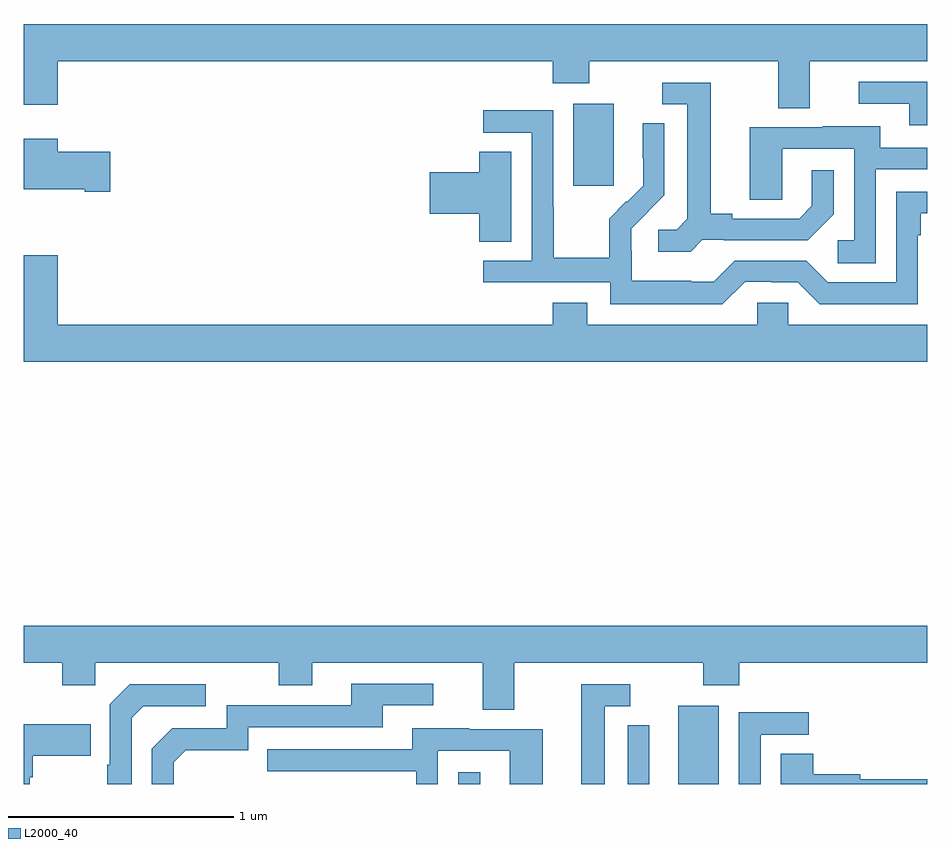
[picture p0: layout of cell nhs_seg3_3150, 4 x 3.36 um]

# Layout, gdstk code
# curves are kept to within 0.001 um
import gdstk
lib = gdstk.Library(unit=1e-6, precision=1e-09)
def R(c, l, rs):  # rectangles x0, y0, x1, y1
    for r in rs: c.add(gdstk.rectangle(r[:2], r[2:], *l))
def P(c, l, *ps):  # polygons
    for p in ps: c.add(gdstk.Polygon(p, *l))
L2000_40 = (2000, 40)

nhs_seg3_3150 = lib.new_cell('nhs_seg3_3150')
R(nhs_seg3_3150, L2000_40, [(276.924,680.4,277.021,680.452), (277.898,680.4,278.077,680.746), (277.433,683.049,277.612,683.41)])
P(nhs_seg3_3150, L2000_40, [(278.479,683.6),(279,683.6),(279,683.764),(275,683.764),(275,683.406),(275.15,683.406),(275.15,683.6),(277.343,683.6),(277.343,683.501),(277.503,683.501),(277.503,683.6),(278.339,683.6),(278.339,683.392),(278.479,683.392)],
  [(279,683.508),(278.697,683.508),(278.697,683.412),(278.921,683.412),(278.921,683.316),(279,683.316)],
  [(278.004,682.809),(278.098,682.809),(278.098,682.806),(278.47,682.806),(278.586,682.922),(278.586,683.116),(278.489,683.116),(278.489,682.959),(278.432,682.902),(278.137,682.902),(278.137,682.925),(278.041,682.925),(278.041,683.505),(277.827,683.505),(277.827,683.409),(277.937,683.409),(277.937,682.901),(277.89,682.854),(277.809,682.854),(277.809,682.757),(277.952,682.757)],
  [(278.193,682.623),(278.309,682.623),(278.309,682.62),(278.427,682.62),(278.523,682.524),(278.958,682.524),(278.958,682.829),(278.971,682.829),(278.971,682.926),(279,682.926),(279,683.022),(278.862,683.022),(278.862,682.62),(278.559,682.62),(278.463,682.716),(278.148,682.716),(278.055,682.623),(277.955,682.623),(277.955,682.627),(277.692,682.627),(277.692,682.761),(277.69,682.761),(277.69,682.858),(277.836,683.006),(277.836,683.324),(277.74,683.324),(277.74,683.17),(277.742,683.17),(277.742,683.048),(277.671,682.977),(277.668,682.98),(277.591,682.903),(277.591,682.729),(277.347,682.729),(277.347,682.952),(277.344,682.952),(277.344,683.382),(277.035,683.382),(277.035,683.283),(277.248,683.283),(277.248,682.716),(277.035,682.716),(277.035,682.62),(277.596,682.62),(277.596,682.523),(278.093,682.523)],
  [(278.772,683.121),(279,683.121),(279,683.217),(278.791,683.217),(278.791,683.311),(278.537,683.311),(278.537,683.307),(278.213,683.307),(278.213,682.987),(278.358,682.987),(278.358,683.211),(278.676,683.211),(278.676,682.806),(278.604,682.806),(278.604,682.705),(278.772,682.705)],
  [(275.383,683.199),(275.152,683.199),(275.152,683.257),(275,683.257),(275,683.033),(275.27,683.033),(275.27,683.021),(275.383,683.021)],
  [(277.159,683.198),(277.016,683.198),(277.016,683.108),(276.798,683.108),(276.798,682.925),(277.016,682.925),(277.016,682.801),(277.159,682.801)],
  [(279,682.432),(278.385,682.432),(278.385,682.53),(278.247,682.53),(278.247,682.432),(277.495,682.432),(277.495,682.531),(277.343,682.531),(277.343,682.432),(275.15,682.432),(275.15,682.741),(275,682.741),(275,682.268),(279,682.268)],
  [(277.171,680.936),(278.008,680.936),(278.008,680.837),(278.168,680.837),(278.168,680.936),(279,680.936),(279,681.1),(275,681.1),(275,680.936),(275.17,680.936),(275.17,680.837),(275.316,680.837),(275.316,680.936),(276.13,680.936),(276.13,680.837),(276.277,680.837),(276.277,680.936),(277.031,680.936),(277.031,680.728),(277.171,680.728)],
  [(275.664,680.496),(275.717,680.549),(275.994,680.549),(275.994,680.652),(276.589,680.652),(276.589,680.748),(276.814,680.748),(276.814,680.844),(276.449,680.844),(276.449,680.748),(275.898,680.748),(275.898,680.646),(275.658,680.646),(275.568,680.556),(275.568,680.4),(275.664,680.4)],
  [(277.573,680.745),(277.684,680.745),(277.684,680.841),(277.469,680.841),(277.469,680.4),(277.573,680.4)],
  [(275.478,680.694),(275.529,680.745),(275.806,680.745),(275.806,680.841),(275.469,680.841),(275.382,680.754),(275.382,680.485),(275.37,680.485),(275.37,680.4),(275.478,680.4)],
  [(278.262,680.619),(278.476,680.619),(278.476,680.718),(278.166,680.718),(278.166,680.4),(278.262,680.4)],
  [(275.028,680.429),(275.041,680.429),(275.041,680.525),(275.297,680.525),(275.297,680.665),(275,680.665),(275,680.4),(275.028,680.4)],
  [(277.769,680.506),(277.77,680.506),(277.77,680.66),(277.674,680.66),(277.674,680.4),(277.769,680.4)],
  [(276.834,680.547),(277.152,680.547),(277.152,680.4),(277.297,680.4),(277.297,680.643),(276.973,680.643),(276.973,680.647),(276.719,680.647),(276.719,680.553),(276.079,680.553),(276.079,680.457),(276.738,680.457),(276.738,680.4),(276.834,680.4)],
  [(279,680.42),(278.704,680.42),(278.704,680.444),(278.495,680.444),(278.495,680.534),(278.351,680.534),(278.351,680.4),(279,680.4)])

lib.write_gds('nhs_seg3_3150.gds')
